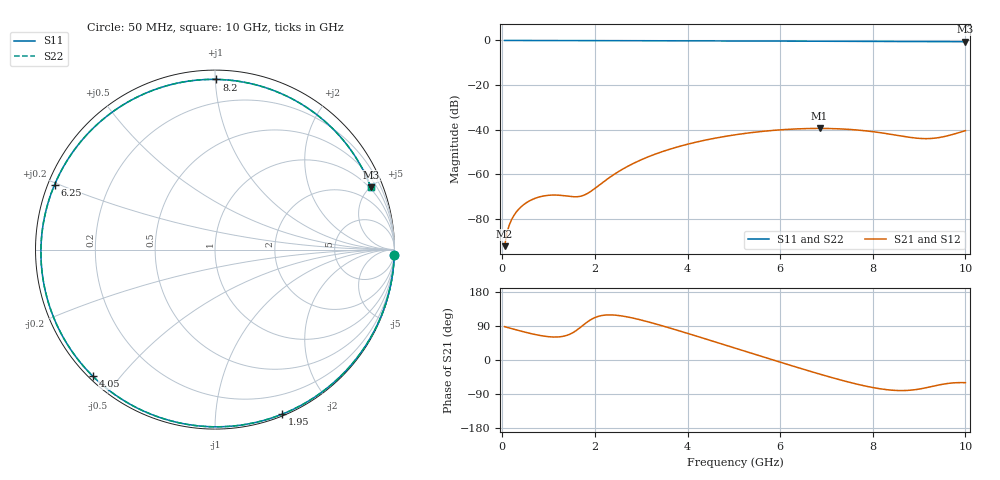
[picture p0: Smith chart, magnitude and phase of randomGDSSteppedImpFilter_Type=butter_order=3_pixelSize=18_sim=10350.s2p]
! freq	dB(S11)	phase(S11)	dB(S12)	phase(S12)
!  dB(S21)	phase(S21)	dB(S22)	phase(S22)
!S-par simulation data
#  GHz  S  DB  R 50
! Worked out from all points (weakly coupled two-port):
!   200 points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, 50 MHz to 10 GHz, reference 50 ohm
!   highest |S21| = -39.46 dB at 6.85 GHz (marker M1); lowest = -92.3 dB at 50 MHz (marker M2)
!   lowest |S11| = -0.6 dB at 10 GHz (marker M3), VSWR 29.75, Z = 45.6 + j252 ohm
!   |S11| at or under -10 dB: nowhere
!   |S22| runs from -0.6 to 0.0 dB; largest |S21 - S12| = 0
!   S11 on the Smith chart (normalised r, x): 50 MHz: 2, -63; 1.95 GHz: 0.02, -1.49; 4.05 GHz: 0.01, -0.42; 6.25 GHz: 0.02, +0.20; 8.2 GHz: 0.05, +1.01; 10 GHz: 0.91, +5.04
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0.05  -0.01 -1.8  -92.28 88.1  -92.28 88.1  -0.01 -1.8
0.2  -0.01 -7.2  -80.40 82.9  -80.40 82.9  -0.01 -7.2
0.45  -0.02 -16.1  -73.84 74.7  -73.84 74.7  -0.02 -16.1
0.8  -0.03 -28.5  -70.20 65.0  -70.20 65.0  -0.03 -28.5
1.05  -0.05 -37.3  -69.37 61.0  -69.37 61.0  -0.05 -37.3
1.55  -0.07 -54.4  -70.13 74.0  -70.13 74.0  -0.07 -54.4
1.75  -0.08 -61.2  -69.51 92.3  -69.51 92.3  -0.08 -61.2
1.95  -0.08 -67.9  -67.14 109.1  -67.14 109.1  -0.08 -67.9
2.65  -0.11 -90.6  -57.13 114.8  -57.13 114.8  -0.11 -90.6
3.4  -0.14 -114.1  -50.27 92.2  -50.27 92.2  -0.14 -114.1
4.05  -0.17 -134.0  -46.29 68.4  -46.29 68.4  -0.17 -134.0
5.05  -0.23 -164.4  -42.26 30.5  -42.26 30.5  -0.23 -164.3
5.65  -0.27 177.1  -40.72 7.6  -40.72 7.6  -0.27 177.1
6.25  -0.32 157.9  -39.78 -15.1  -39.78 -15.1  -0.32 157.9
6.7  -0.35 143.0  -39.48 -31.7  -39.48 -31.7  -0.35 143.0
6.85  -0.36 137.9  -39.46 -37.1  -39.46 -37.1  -0.36 138.0
7.55  -0.42 113.4  -39.99 -60.5  -39.99 -60.5  -0.42 113.4
8.2  -0.46 89.5  -41.49 -76.7  -41.49 -76.7  -0.46 89.5
8.35  -0.47 83.9  -41.96 -79.0  -41.96 -79.0  -0.47 83.9
8.75  -0.50 68.8  -43.31 -80.3  -43.31 -80.3  -0.50 68.8
9.2  -0.52 51.6  -44.03 -71.9  -44.03 -71.9  -0.52 51.7
10  -0.58 21.8  -40.47 -59.9  -40.47 -59.9  -0.58 21.8
